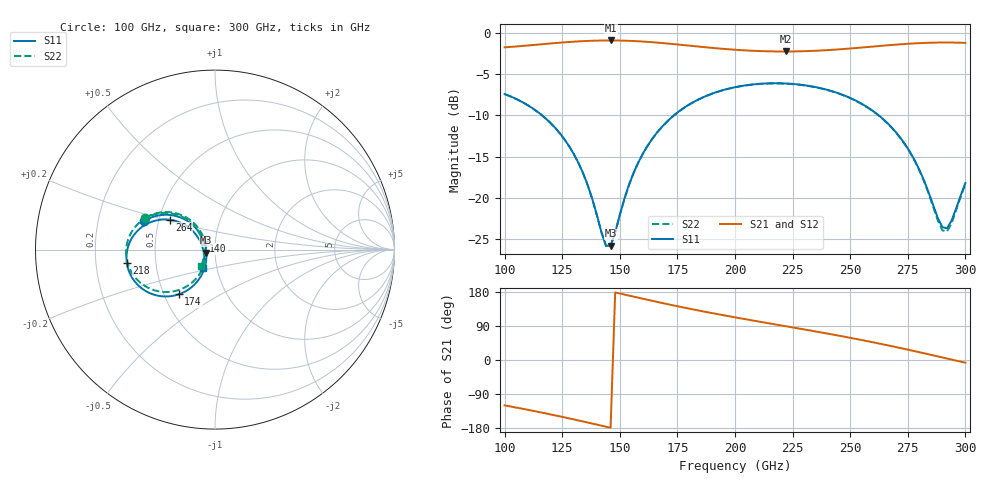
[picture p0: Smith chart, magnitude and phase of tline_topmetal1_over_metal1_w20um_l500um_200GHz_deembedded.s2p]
! Created with skrf 2.0.1 (http://scikit-rf.org).
# GHz S DB R 50.0
!freq dBS11 angS11 dBS21 angS21 dBS12 angS12 dBS22 angS22
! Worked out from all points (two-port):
!   101 points, 100 GHz to 300 GHz, reference 50 ohm
!   highest |S21| = -0.87 dB at 146 GHz (marker M1); lowest = -2.2 dB at 222 GHz (marker M2)
!   |S21| within 3 dB of the highest: start of sweep to end of sweep
!   lowest |S11| = -25.9 dB at 146 GHz (marker M3), VSWR 1.11, Z = 45.4 - j1.53 ohm
!   |S11| at or under -10 dB: 116.3 GHz to 173.4 GHz (57.09 GHz wide, 39.4 % of centre); 262.4 GHz to end of sweep
!   |S22| runs from -25.9 to -6.1 dB; largest |S21 - S12| = 1e-13
!   S11 on the Smith chart (normalised r, x): 100 GHz: 0.41, +0.16; 140 GHz: 0.88, +0.09; 174 GHz: 0.59, -0.33; 218 GHz: 0.34, -0.07; 264 GHz: 0.57, +0.21; 300 GHz: 0.86, -0.18
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100  -7.39 158.4  -1.71 -119.8  -1.71 -119.8  -7.40 155.6
120  -10.93 139.1  -1.23 -143.7  -1.23 -143.7  -10.94 135.7
128  -13.73 133.0  -1.06 -154.1  -1.06 -154.1  -13.75 129.4
134  -16.98 131.9  -0.95 -162.2  -0.95 -162.2  -16.99 128.1
140  -22.06 142.4  -0.89 -170.5  -0.89 -170.5  -22.08 138.4
144  -25.84 174.0  -0.87 -176.1  -0.87 -176.1  -25.88 169.9
146  -25.86 -160.7  -0.87 -178.9  -0.87 -178.9  -25.90 -164.8
156  -16.97 -118.1  -0.94 167.2  -0.94 167.2  -16.99 -122.4
168  -11.47 -123.6  -1.17 151.0  -1.17 151.0  -11.48 -128.3
174  -9.86 -129.0  -1.33 143.2  -1.33 143.2  -9.88 -133.9
186  -7.80 -140.8  -1.66 128.5  -1.66 128.5  -7.82 -146.1
200  -6.55 -154.5  -2.00 112.6  -2.00 112.6  -6.57 -160.2
218  -6.07 -171.3  -2.21 93.4  -2.21 93.4  -6.09 -177.5
222  -6.10 -175.0  -2.21 89.2  -2.21 89.2  -6.12 178.7
234  -6.49 174.0  -2.13 76.4  -2.13 76.4  -6.51 167.2
250  -7.86 159.1  -1.85 58.6  -1.85 58.6  -7.89 151.8
264  -10.36 146.7  -1.51 41.6  -1.51 41.6  -10.40 138.8
268  -11.45 143.6  -1.42 36.5  -1.42 36.5  -11.49 135.6
278  -15.46 139.9  -1.23 23.3  -1.23 23.3  -15.53 131.3
290  -23.58 178.9  -1.12 6.7  -1.12 6.7  -23.97 170.2
294  -22.79 -145.8  -1.12 1.2  -1.12 1.2  -23.11 -153.0
300  -18.21 -122.4  -1.17 -7.2  -1.17 -7.2  -18.33 -129.8
